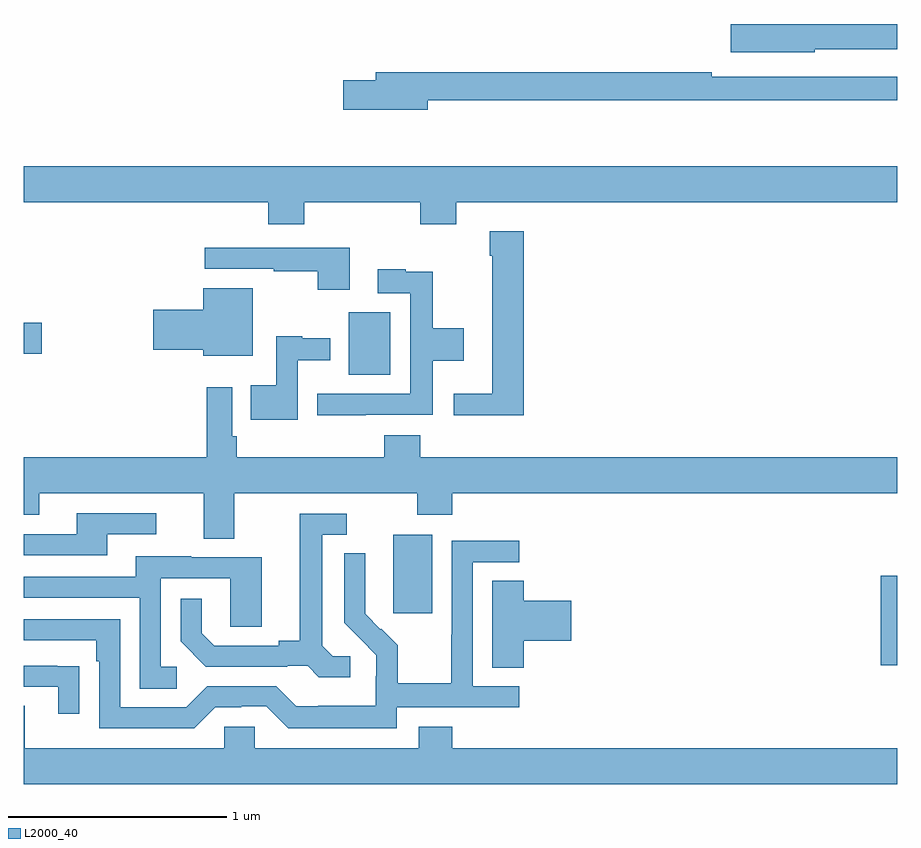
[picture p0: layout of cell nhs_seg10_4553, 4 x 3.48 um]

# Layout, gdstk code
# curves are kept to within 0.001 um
import gdstk
lib = gdstk.Library(unit=1e-6, precision=1e-09)
def R(c, l, rs):  # rectangles x0, y0, x1, y1
    for r in rs: c.add(gdstk.rectangle(r[:2], r[2:], *l))
def P(c, l, *ps):  # polygons
    for p in ps: c.add(gdstk.Polygon(p, *l))
L2000_40 = (2000, 40)

nhs_seg10_4553 = lib.new_cell('nhs_seg10_4553')
R(nhs_seg10_4553, L2000_40, [(374.924,1263.563,375,1263.973), (372.692,1263.801,372.871,1264.162), (372.488,1264.895,372.679,1265.179), (371,1264.99,371.083,1265.132)])
P(nhs_seg10_4553, L2000_40, [(374.622,1266.384),(375,1266.384),(375,1266.5),(374.238,1266.5),(374.238,1266.371),(374.622,1266.371)],
  [(372.85,1266.15),(375,1266.15),(375,1266.258),(374.15,1266.258),(374.15,1266.278),(372.611,1266.278),(372.611,1266.242),(372.462,1266.242),(372.462,1266.107),(372.85,1266.107)],
  [(372.284,1265.684),(372.815,1265.684),(372.815,1265.582),(372.98,1265.582),(372.98,1265.684),(375,1265.684),(375,1265.848),(371,1265.848),(371,1265.684),(372.119,1265.684),(372.119,1265.582),(372.284,1265.582)],
  [(373.289,1265.551),(373.133,1265.551),(373.133,1265.438),(373.145,1265.438),(373.145,1264.807),(372.969,1264.807),(372.969,1264.709),(373.289,1264.709)],
  [(372.493,1265.475),(371.829,1265.475),(371.829,1265.379),(372.145,1265.379),(372.145,1265.367),(372.346,1265.367),(372.346,1265.283),(372.493,1265.283)],
  [(372.566,1264.71),(372.872,1264.71),(372.872,1264.958),(373.015,1264.958),(373.015,1265.106),(372.872,1265.106),(372.872,1265.366),(372.749,1265.366),(372.749,1265.377),(372.621,1265.377),(372.621,1265.268),(372.771,1265.268),(372.771,1264.806),(372.345,1264.806),(372.345,1264.709),(372.566,1264.709)],
  [(372.049,1265.29),(371.822,1265.29),(371.822,1265.192),(371.592,1265.192),(371.592,1265.009),(371.822,1265.009),(371.822,1264.982),(372.049,1264.982)],
  [(372.255,1264.961),(372.403,1264.961),(372.403,1265.061),(372.276,1265.061),(372.276,1265.071),(372.156,1265.071),(372.156,1264.846),(372.04,1264.846),(372.04,1264.688),(372.255,1264.688)],
  [(371.965,1264.352),(372.802,1264.352),(372.802,1264.253),(372.962,1264.253),(372.962,1264.352),(375,1264.352),(375,1264.516),(372.815,1264.516),(372.815,1264.618),(372.65,1264.618),(372.65,1264.516),(371.975,1264.516),(371.975,1264.612),(371.955,1264.612),(371.955,1264.837),(371.839,1264.837),(371.839,1264.516),(371,1264.516),(371,1264.253),(371.071,1264.253),(371.071,1264.352),(371.825,1264.352),(371.825,1264.144),(371.965,1264.144)],
  [(371.383,1264.164),(371.608,1264.164),(371.608,1264.26),(371.243,1264.26),(371.243,1264.164),(371,1264.164),(371,1264.068),(371.383,1264.068)],
  [(372.496,1263.606),(372.414,1263.606),(372.367,1263.653),(372.367,1264.161),(372.478,1264.161),(372.478,1264.257),(372.263,1264.257),(372.263,1263.677),(372.167,1263.677),(372.167,1263.654),(371.872,1263.654),(371.815,1263.711),(371.815,1263.868),(371.718,1263.868),(371.718,1263.674),(371.834,1263.558),(372.206,1263.558),(372.206,1263.561),(372.3,1263.561),(372.352,1263.509),(372.496,1263.509)],
  [(372.708,1263.372),(373.27,1263.372),(373.27,1263.468),(373.056,1263.468),(373.056,1264.035),(373.27,1264.035),(373.27,1264.134),(372.96,1264.134),(372.96,1263.704),(372.958,1263.704),(372.958,1263.481),(372.713,1263.481),(372.713,1263.655),(372.636,1263.732),(372.633,1263.729),(372.563,1263.8),(372.564,1264.076),(372.468,1264.076),(372.468,1263.758),(372.614,1263.61),(372.614,1263.513),(372.612,1263.513),(372.612,1263.379),(372.349,1263.379),(372.349,1263.375),(372.249,1263.375),(372.156,1263.468),(371.841,1263.468),(371.745,1263.372),(371.442,1263.372),(371.442,1263.774),(371,1263.774),(371,1263.678),(371.333,1263.678),(371.333,1263.581),(371.346,1263.581),(371.346,1263.276),(371.781,1263.276),(371.877,1263.372),(371.996,1263.372),(371.996,1263.375),(372.111,1263.375),(372.211,1263.275),(372.708,1263.275)],
  [(371.701,1263.558),(371.628,1263.558),(371.628,1263.963),(371.946,1263.963),(371.946,1263.739),(372.091,1263.739),(372.091,1264.059),(371.767,1264.059),(371.767,1264.063),(371.513,1264.063),(371.513,1263.969),(371,1263.969),(371,1263.873),(371.532,1263.873),(371.532,1263.457),(371.701,1263.457)],
  [(373.289,1263.677),(373.507,1263.677),(373.507,1263.86),(373.289,1263.86),(373.289,1263.95),(373.145,1263.95),(373.145,1263.553),(373.289,1263.553)],
  [(371.255,1263.56),(371.153,1263.56),(371.153,1263.561),(371,1263.561),(371,1263.465),(371.159,1263.465),(371.159,1263.342),(371.255,1263.342)],
  [(375,1263.184),(372.962,1263.184),(372.962,1263.283),(372.809,1263.283),(372.809,1263.184),(372.057,1263.184),(372.057,1263.282),(371.919,1263.282),(371.919,1263.184),(371.005,1263.184),(371.005,1263.379),(371,1263.379),(371,1263.02),(375,1263.02)])

lib.write_gds('nhs_seg10_4553.gds')
